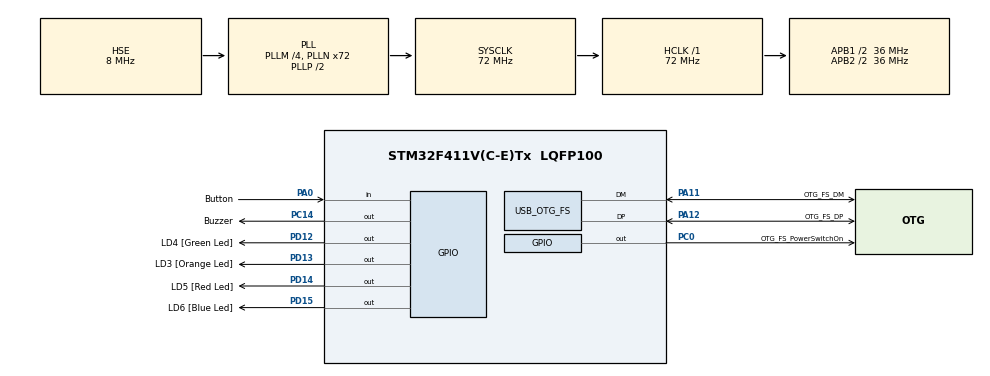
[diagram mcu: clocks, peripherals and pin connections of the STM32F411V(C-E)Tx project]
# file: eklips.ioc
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Mcu.Family=STM32F4
Mcu.Name=STM32F411V(C-E)Tx
Mcu.Package=LQFP100
NVIC.OTG_FS_IRQn=true\:0\:0\:false\:false\:true\:false\:true
NVIC.PriorityGroup=NVIC_PRIORITYGROUP_0
NVIC.TIM1_UP_TIM10_IRQn=true\:0\:0\:false\:false\:true\:true\:true
PA0-WKUP.GPIO_Label=Button
PA0-WKUP.Signal=GPIO_Input
PA11.GPIO_Label=OTG_FS_DM
PA11.Mode=Device_Only
PA11.Signal=USB_OTG_FS_DM
PA12.GPIO_Label=OTG_FS_DP
PA12.Mode=Device_Only
PA12.Signal=USB_OTG_FS_DP
PC0.GPIO_Label=OTG_FS_PowerSwitchOn
PC0.PinState=GPIO_PIN_SET
PC0.Signal=GPIO_Output
PC14-OSC32_IN.GPIO_Label=Buzzer
PC14-OSC32_IN.Signal=GPIO_Output
PD12.GPIO_Label=LD4 [Green Led]
PD12.GPIO_PuPd=GPIO_NOPULL
PD12.GPIO_Speed=GPIO_SPEED_FREQ_LOW
PD12.Signal=GPIO_Output
PD13.GPIO_Label=LD3 [Orange Led]
PD13.GPIO_PuPd=GPIO_NOPULL
PD13.GPIO_Speed=GPIO_SPEED_FREQ_LOW
PD13.Signal=GPIO_Output
PD14.GPIO_Label=LD5 [Red Led]
PD14.GPIO_PuPd=GPIO_NOPULL
PD14.GPIO_Speed=GPIO_SPEED_FREQ_LOW
PD14.Signal=GPIO_Output
PD15.GPIO_Label=LD6 [Blue Led]
PD15.GPIO_PuPd=GPIO_NOPULL
PD15.GPIO_Speed=GPIO_SPEED_FREQ_LOW
PD15.Signal=GPIO_Output
PH0\ -\ OSC_IN.GPIO_Label=PH0-OSC_IN
PH0\ -\ OSC_IN.Mode=HSE-External-Oscillator
PH0\ -\ OSC_IN.Signal=RCC_OSC_IN
PH1\ -\ OSC_OUT.GPIO_Label=PH1-OSC_OUT
PH1\ -\ OSC_OUT.Mode=HSE-External-Oscillator
PH1\ -\ OSC_OUT.Signal=RCC_OSC_OUT
ProjectManager.HeapSize=0x200
ProjectManager.StackSize=0x400
ProjectManager.TargetToolchain=SW4STM32
RCC.48MHZClocksFreq_Value=48000000
RCC.AHBFreq_Value=72000000
RCC.APB1CLKDivider=RCC_HCLK_DIV2
RCC.APB1Freq_Value=36000000
RCC.APB1TimFreq_Value=72000000
RCC.APB2CLKDivider=RCC_HCLK_DIV2
RCC.APB2Freq_Value=36000000
RCC.APB2TimFreq_Value=72000000
RCC.CortexFreq_Value=72000000
RCC.HCLKFreq_Value=72000000
RCC.HSE_VALUE=8000000
RCC.HSI_VALUE=16000000
RCC.LSE_VALUE=32768
RCC.PLLI2SM=5
RCC.PLLI2SN=200
RCC.PLLM=4
RCC.PLLN=72
RCC.PLLQ=3
RCC.SYSCLKFreq_VALUE=72000000
RCC.SYSCLKSource=RCC_SYSCLKSOURCE_PLLCLK
RCC.VCOOutputFreq_Value=144000000
TIM10.Period=179
TIM10.Prescaler=9999
USB_DEVICE.CLASS_NAME_FS=CDC
USB_DEVICE.VirtualMode=Cdc
USB_DEVICE.VirtualModeFS=Cdc_FS
USB_OTG_FS.VirtualMode=Device_Only
VP_TIM10_VS_ClockSourceINT.Mode=Enable_Timer
VP_USB_DEVICE_VS_USB_DEVICE_CDC_FS.Mode=CDC_FS
board=32F411EDISCOVERY

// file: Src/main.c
/* USER CODE BEGIN Header */
/**
  ******************************************************************************
  * @file           : main.c
  * @brief          : Main program body
  ******************************************************************************
  * @attention
  *
  * <h2><center>&copy; Copyright (c) 2019 STMicroelectronics.
  * All rights reserved.</center></h2>
  *
  * This software component is licensed by ST under Ultimate Liberty license
  * SLA0044, the "License"; You may not use this file except in compliance with
  * the License. You may obtain a copy of the License at:
  *                             www.st.com/SLA0044
  *
  ******************************************************************************
  */
/* USER CODE END Header */

#include "main.h"
#include "usb_device.h"

/* USER CODE BEGIN Includes */
#include "usbd_cdc_if.h"
#include <morse.h>
/* USER CODE END Includes */

TIM_HandleTypeDef htim10;
uint32_t PressCounter=0; //licznik przycisniecia
uint32_t PauseCounter=0; //licznik pauzy

void SystemClock_Config(void);
static void MX_GPIO_Init(void);
static void MX_TIM10_Init(void);
/* USER CODE BEGIN PFP */
void HAL_TIM_PeriodElapsedCallback(TIM_HandleTypeDef *htim){
	 if(htim->Instance == TIM10){
		 if(HAL_GPIO_ReadPin(Button_GPIO_Port, Button_Pin) == GPIO_PIN_SET){
			 PressCounter++;
			 PauseCounter=0;
		  	  if(PressCounter>6){
		  		  HAL_GPIO_WritePin(GPIOD, GPIO_PIN_15|GPIO_PIN_14|GPIO_PIN_13|GPIO_PIN_12 , GPIO_PIN_SET);
		  		HAL_GPIO_WritePin(Buzzer_GPIO_Port, Buzzer_Pin, GPIO_PIN_RESET);
		  	  }
		  	  else if(PressCounter>0){
		  		HAL_GPIO_WritePin(GPIOD, GPIO_PIN_15, GPIO_PIN_SET);
		  		HAL_GPIO_WritePin(Buzzer_GPIO_Port, Buzzer_Pin, GPIO_PIN_RESET);
		  	  }
		  }
		 else{
			 PauseCounter++;
			 if(PressCounter>0) {
				 GetChars(PressCounter);
			 }
			 else if(PauseCounter==18){
				 ThrowWord();
			 }
			 HAL_GPIO_WritePin(GPIOD, GPIO_PIN_15|GPIO_PIN_14|GPIO_PIN_13|GPIO_PIN_12, GPIO_PIN_RESET);
			 HAL_GPIO_WritePin(Buzzer_GPIO_Port, Buzzer_Pin, GPIO_PIN_SET);
			 PressCounter=0;
		  }

	 }
	 if(PressCounter>40000) PressCounter=7;
	 if(PauseCounter>40000) PauseCounter=19;
}
/* USER CODE END PFP */

int main(void)
{

  /* MCU Configuration--------------------------------------------------------*/

  /* Reset of all peripherals, Initializes the Flash interface and the Systick. */
  HAL_Init();

  /* Configure the system clock */
  SystemClock_Config();

  /* Initialize all configured peripherals */
  MX_GPIO_Init();
  MX_USB_DEVICE_Init();
  MX_TIM10_Init();
  /* USER CODE BEGIN 2 */
  HAL_TIM_Base_Start_IT(&htim10);
  /* USER CODE END 2 */

  /* Infinite loop */
  /* USER CODE BEGIN WHILE */
  while (1)
  {
	  MainFunction();

    /* USER CODE END WHILE */

  }
}

void SystemClock_Config(void)
{
  RCC_OscInitTypeDef RCC_OscInitStruct = {0};
  RCC_ClkInitTypeDef RCC_ClkInitStruct = {0};

  /** Configure the main internal regulator output voltage
  */
  __HAL_RCC_PWR_CLK_ENABLE();
  __HAL_PWR_VOLTAGESCALING_CONFIG(PWR_REGULATOR_VOLTAGE_SCALE1);
  /** Initializes the CPU, AHB and APB busses clocks
  */
  RCC_OscInitStruct.OscillatorType = RCC_OSCILLATORTYPE_HSE;
  RCC_OscInitStruct.HSEState = RCC_HSE_ON;
  RCC_OscInitStruct.PLL.PLLState = RCC_PLL_ON;
  RCC_OscInitStruct.PLL.PLLSource = RCC_PLLSOURCE_HSE;
  RCC_OscInitStruct.PLL.PLLM = 4;
  RCC_OscInitStruct.PLL.PLLN = 72;
  RCC_OscInitStruct.PLL.PLLP = RCC_PLLP_DIV2;
  RCC_OscInitStruct.PLL.PLLQ = 3;
  if (HAL_RCC_OscConfig(&RCC_OscInitStruct) != HAL_OK)
  {
    Error_Handler();
  }
  /** Initializes the CPU, AHB and APB busses clocks
  */
  RCC_ClkInitStruct.ClockType = RCC_CLOCKTYPE_HCLK|RCC_CLOCKTYPE_SYSCLK
                              |RCC_CLOCKTYPE_PCLK1|RCC_CLOCKTYPE_PCLK2;
  RCC_ClkInitStruct.SYSCLKSource = RCC_SYSCLKSOURCE_PLLCLK;
  RCC_ClkInitStruct.AHBCLKDivider = RCC_SYSCLK_DIV1;
  RCC_ClkInitStruct.APB1CLKDivider = RCC_HCLK_DIV2;
  RCC_ClkInitStruct.APB2CLKDivider = RCC_HCLK_DIV2;

  if (HAL_RCC_ClockConfig(&RCC_ClkInitStruct, FLASH_LATENCY_2) != HAL_OK)
  {
    Error_Handler();
  }
}

static void MX_TIM10_Init(void)
{

  htim10.Instance = TIM10;
  htim10.Init.Prescaler = 9999;
  htim10.Init.CounterMode = TIM_COUNTERMODE_UP;
  htim10.Init.Period = 179;
  htim10.Init.ClockDivision = TIM_CLOCKDIVISION_DIV1;
  htim10.Init.AutoReloadPreload = TIM_AUTORELOAD_PRELOAD_DISABLE;
  if (HAL_TIM_Base_Init(&htim10) != HAL_OK)
  {
    Error_Handler();
  }

}

static void MX_GPIO_Init(void)
{
  GPIO_InitTypeDef GPIO_InitStruct = {0};

  /* GPIO Ports Clock Enable */
  __HAL_RCC_GPIOC_CLK_ENABLE();
  __HAL_RCC_GPIOH_CLK_ENABLE();
  __HAL_RCC_GPIOA_CLK_ENABLE();
  __HAL_RCC_GPIOD_CLK_ENABLE();

  /*Configure GPIO pin Output Level */
  HAL_GPIO_WritePin(Buzzer_GPIO_Port, Buzzer_Pin, GPIO_PIN_RESET);

  /*Configure GPIO pin Output Level */
  HAL_GPIO_WritePin(OTG_FS_PowerSwitchOn_GPIO_Port, OTG_FS_PowerSwitchOn_Pin, GPIO_PIN_SET);

  /*Configure GPIO pin Output Level */
  HAL_GPIO_WritePin(GPIOD, LD4_Pin|LD3_Pin|LD5_Pin|LD6_Pin, GPIO_PIN_RESET);

  /*Configure GPIO pins : Buzzer_Pin OTG_FS_PowerSwitchOn_Pin */
  GPIO_InitStruct.Pin = Buzzer_Pin|OTG_FS_PowerSwitchOn_Pin;
  GPIO_InitStruct.Mode = GPIO_MODE_OUTPUT_PP;
  GPIO_InitStruct.Pull = GPIO_NOPULL;
  GPIO_InitStruct.Speed = GPIO_SPEED_FREQ_LOW;
  HAL_GPIO_Init(GPIOC, &GPIO_InitStruct);

  /*Configure GPIO pin : Button_Pin */
  GPIO_InitStruct.Pin = Button_Pin;
  GPIO_InitStruct.Mode = GPIO_MODE_INPUT;
  GPIO_InitStruct.Pull = GPIO_NOPULL;
  HAL_GPIO_Init(Button_GPIO_Port, &GPIO_InitStruct);

  /*Configure GPIO pins : LD4_Pin LD3_Pin LD5_Pin LD6_Pin */
  GPIO_InitStruct.Pin = LD4_Pin|LD3_Pin|LD5_Pin|LD6_Pin;
  GPIO_InitStruct.Mode = GPIO_MODE_OUTPUT_PP;
  GPIO_InitStruct.Pull = GPIO_NOPULL;
  GPIO_InitStruct.Speed = GPIO_SPEED_FREQ_LOW;
  HAL_GPIO_Init(GPIOD, &GPIO_InitStruct);

}

void Error_Handler(void)
{
}

/************************ (C) COPYRIGHT STMicroelectronics *****END OF FILE****/
